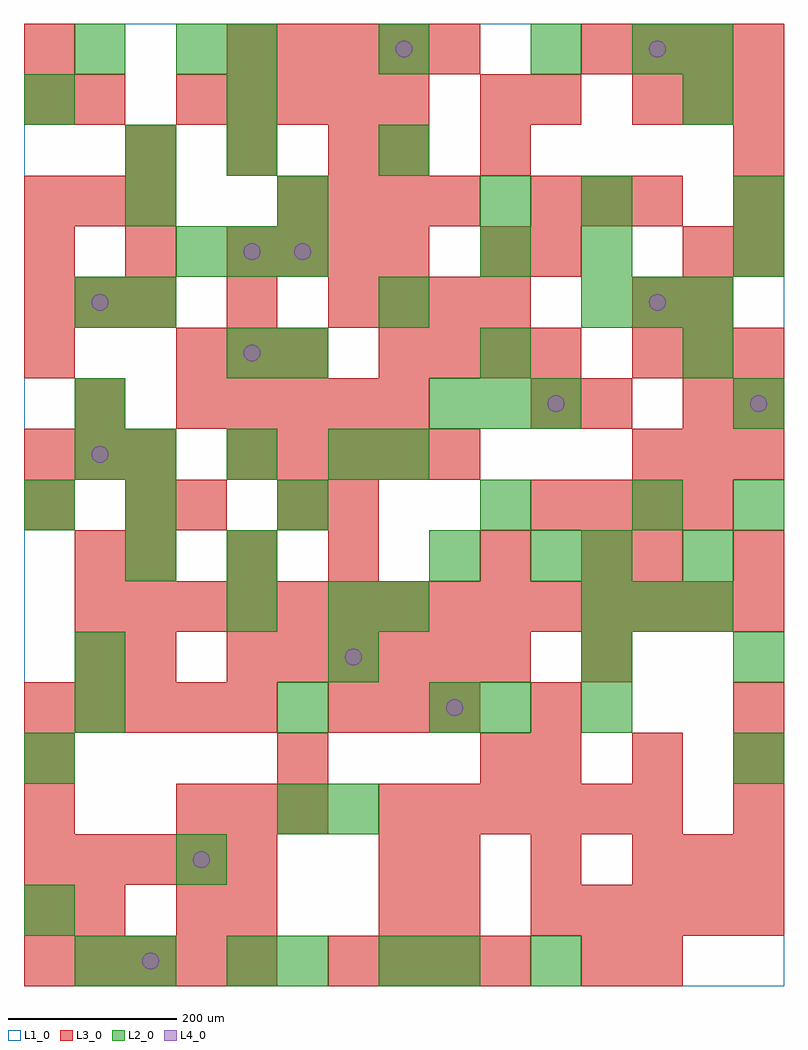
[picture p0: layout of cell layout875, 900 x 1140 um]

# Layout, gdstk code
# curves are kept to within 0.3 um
import gdstk
lib = gdstk.Library(unit=1e-6, precision=1e-09)
def R(c, l, rs):  # rectangles x0, y0, x1, y1
    for r in rs: c.add(gdstk.rectangle(r[:2], r[2:], *l))
def A(c, l, x, y, w, h, nx, ny, dx, dy):  # array of equal rectangles
    R(c, l, [(x+i*dx, y+j*dy, x+i*dx+w, y+j*dy+h) for i in range(nx) for j in range(ny)])
def P(c, l, *ps):  # polygons
    for p in ps: c.add(gdstk.Polygon(p, *l))
L1_0 = (1, 0)
L2_0 = (2, 0)
L3_0 = (3, 0)
L4_0 = (4, 0)

layout875 = lib.new_cell('layout875')
R(layout875, L1_0, [(0,0,900,1140)])
A(layout875, L2_0, 60, 0, 60, 60, 1, 3, 0, 300)
A(layout875, L2_0, 60, 360, 60, 60, 3, 1, 300, 0)
A(layout875, L2_0, 420, 420, 60, 60, 1, 4, 0, 180)
A(layout875, L2_0, 660, 420, 60, 60, 3, 2, 60, 360)
A(layout875, L2_0, 240, 480, 60, 60, 1, 3, 0, 240)
A(layout875, L2_0, 120, 600, 60, 60, 3, 1, 120, 0)
A(layout875, L2_0, 480, 660, 60, 60, 3, 1, 60, 0)
A(layout875, L2_0, 300, 720, 60, 60, 3, 1, 240, 0)
A(layout875, L2_0, 180, 840, 60, 60, 3, 1, 60, 0)
A(layout875, L2_0, 240, 1080, 60, 60, 3, 1, 180, 0)
R(layout875, L2_0, [(120,0,180,60), (240,0,300,60), (300,0,360,60), (420,0,480,60), (480,0,540,60), (600,0,660,60), (0,60,60,120), (180,120,240,180), (300,180,360,240), (360,180,420,240), (0,240,60,300), (840,240,900,300), (300,300,360,360), (480,300,540,360), (540,300,600,360), (660,300,720,360), (840,360,900,420), (240,420,300,480), (360,420,420,480), (120,480,180,540), (480,480,540,540), (600,480,660,540), (660,480,720,540), (780,480,840,540), (0,540,60,600), (120,540,180,600), (300,540,360,600), (540,540,600,600), (720,540,780,600), (840,540,900,600), (60,660,120,720), (840,660,900,720), (60,780,120,840), (120,780,180,840), (540,840,600,900), (660,840,720,900), (840,840,900,900), (120,900,180,960), (300,900,360,960), (540,900,600,960), (660,900,720,960), (840,900,900,960), (120,960,180,1020), (0,1020,60,1080), (240,1020,300,1080), (780,1020,840,1080), (60,1080,120,1140), (180,1080,240,1140), (720,1080,780,1140), (780,1080,840,1140)])
A(layout875, L3_0, 0, 0, 60, 60, 5, 2, 60, 120)
A(layout875, L3_0, 360, 0, 60, 60, 4, 2, 60, 780)
A(layout875, L3_0, 600, 60, 60, 60, 5, 1, 60, 0)
A(layout875, L3_0, 480, 120, 60, 60, 3, 1, 120, 0)
A(layout875, L3_0, 180, 180, 60, 60, 3, 2, 60, 540)
A(layout875, L3_0, 420, 180, 60, 60, 6, 1, 60, 0)
A(layout875, L3_0, 600, 240, 60, 60, 3, 1, 120, 0)
A(layout875, L3_0, 0, 300, 60, 60, 5, 1, 60, 0)
A(layout875, L3_0, 360, 300, 60, 60, 3, 1, 60, 0)
A(layout875, L3_0, 840, 300, 60, 60, 1, 4, 0, 180)
A(layout875, L3_0, 240, 360, 60, 60, 6, 1, 60, 0)
A(layout875, L3_0, 60, 420, 60, 60, 14, 1, 60, 0)
A(layout875, L3_0, 120, 480, 60, 60, 3, 2, 120, 480)
A(layout875, L3_0, 600, 540, 60, 60, 4, 1, 60, 0)
A(layout875, L3_0, 0, 600, 60, 60, 3, 2, 60, 180)
A(layout875, L3_0, 240, 600, 60, 60, 5, 2, 60, 480)
A(layout875, L3_0, 720, 600, 60, 60, 3, 2, 60, 120)
A(layout875, L3_0, 180, 660, 60, 60, 5, 2, 60, 360)
A(layout875, L3_0, 600, 660, 60, 60, 1, 3, 0, 180)
A(layout875, L3_0, 420, 720, 60, 60, 4, 1, 60, 0)
A(layout875, L3_0, 0, 840, 60, 60, 3, 1, 120, 0)
A(layout875, L3_0, 300, 840, 60, 60, 3, 1, 60, 0)
A(layout875, L3_0, 0, 900, 60, 60, 3, 1, 60, 0)
A(layout875, L3_0, 300, 900, 60, 60, 4, 1, 60, 0)
A(layout875, L3_0, 600, 900, 60, 60, 3, 1, 60, 0)
A(layout875, L3_0, 720, 1020, 60, 60, 3, 1, 60, 0)
A(layout875, L3_0, 660, 1080, 60, 60, 4, 1, 60, 0)
R(layout875, L3_0, [(660,0,720,60), (720,0,780,60), (0,60,60,120), (60,60,120,120), (180,60,240,120), (240,60,300,120), (420,60,480,120), (480,60,540,120), (420,120,480,180), (780,120,840,180), (840,120,900,180), (0,180,60,240), (840,180,900,240), (0,240,60,300), (300,240,360,300), (540,240,600,300), (600,300,660,360), (60,360,120,420), (120,360,180,420), (660,360,720,420), (60,480,120,540), (540,480,600,540), (660,480,720,540), (720,480,780,540), (0,540,60,600), (120,540,180,600), (180,540,240,600), (300,540,360,600), (360,540,420,600), (60,660,120,720), (660,660,720,720), (780,660,840,720), (0,720,60,780), (240,780,300,840), (720,780,780,840), (780,780,840,840), (540,840,600,900), (780,840,840,900), (840,900,900,960), (420,960,480,1020), (540,960,600,1020), (840,960,900,1020), (0,1020,60,1080), (60,1020,120,1080), (540,1020,600,1080), (0,1080,60,1140)])
P(layout875, L4_0, [(100,630),(99.239,633.827),(97.071,637.071),(93.827,639.239),(90,640),(86.173,639.239),(82.929,637.071),(80.761,633.827),(80,630),(80.761,626.173),(82.929,622.929),(86.173,620.761),(90,620),(93.827,620.761),(97.071,622.929),(99.239,626.173)],
  [(100,810),(99.239,813.827),(97.071,817.071),(93.827,819.239),(90,820),(86.173,819.239),(82.929,817.071),(80.761,813.827),(80,810),(80.761,806.173),(82.929,802.929),(86.173,800.761),(90,800),(93.827,800.761),(97.071,802.929),(99.239,806.173)],
  [(160,30),(159.239,33.827),(157.071,37.071),(153.827,39.239),(150,40),(146.173,39.239),(142.929,37.071),(140.761,33.827),(140,30),(140.761,26.173),(142.929,22.929),(146.173,20.761),(150,20),(153.827,20.761),(157.071,22.929),(159.239,26.173)],
  [(220,150),(219.239,153.827),(217.071,157.071),(213.827,159.239),(210,160),(206.173,159.239),(202.929,157.071),(200.761,153.827),(200,150),(200.761,146.173),(202.929,142.929),(206.173,140.761),(210,140),(213.827,140.761),(217.071,142.929),(219.239,146.173)],
  [(280,750),(279.239,753.827),(277.071,757.071),(273.827,759.239),(270,760),(266.173,759.239),(262.929,757.071),(260.761,753.827),(260,750),(260.761,746.173),(262.929,742.929),(266.173,740.761),(270,740),(273.827,740.761),(277.071,742.929),(279.239,746.173)],
  [(280,870),(279.239,873.827),(277.071,877.071),(273.827,879.239),(270,880),(266.173,879.239),(262.929,877.071),(260.761,873.827),(260,870),(260.761,866.173),(262.929,862.929),(266.173,860.761),(270,860),(273.827,860.761),(277.071,862.929),(279.239,866.173)],
  [(340,870),(339.239,873.827),(337.071,877.071),(333.827,879.239),(330,880),(326.173,879.239),(322.929,877.071),(320.761,873.827),(320,870),(320.761,866.173),(322.929,862.929),(326.173,860.761),(330,860),(333.827,860.761),(337.071,862.929),(339.239,866.173)],
  [(400,390),(399.239,393.827),(397.071,397.071),(393.827,399.239),(390,400),(386.173,399.239),(382.929,397.071),(380.761,393.827),(380,390),(380.761,386.173),(382.929,382.929),(386.173,380.761),(390,380),(393.827,380.761),(397.071,382.929),(399.239,386.173)],
  [(460,1110),(459.239,1113.827),(457.071,1117.071),(453.827,1119.239),(450,1120),(446.173,1119.239),(442.929,1117.071),(440.761,1113.827),(440,1110),(440.761,1106.173),(442.929,1102.929),(446.173,1100.761),(450,1100),(453.827,1100.761),(457.071,1102.929),(459.239,1106.173)],
  [(520,330),(519.239,333.827),(517.071,337.071),(513.827,339.239),(510,340),(506.173,339.239),(502.929,337.071),(500.761,333.827),(500,330),(500.761,326.173),(502.929,322.929),(506.173,320.761),(510,320),(513.827,320.761),(517.071,322.929),(519.239,326.173)],
  [(640,690),(639.239,693.827),(637.071,697.071),(633.827,699.239),(630,700),(626.173,699.239),(622.929,697.071),(620.761,693.827),(620,690),(620.761,686.173),(622.929,682.929),(626.173,680.761),(630,680),(633.827,680.761),(637.071,682.929),(639.239,686.173)],
  [(760,810),(759.239,813.827),(757.071,817.071),(753.827,819.239),(750,820),(746.173,819.239),(742.929,817.071),(740.761,813.827),(740,810),(740.761,806.173),(742.929,802.929),(746.173,800.761),(750,800),(753.827,800.761),(757.071,802.929),(759.239,806.173)],
  [(760,1110),(759.239,1113.827),(757.071,1117.071),(753.827,1119.239),(750,1120),(746.173,1119.239),(742.929,1117.071),(740.761,1113.827),(740,1110),(740.761,1106.173),(742.929,1102.929),(746.173,1100.761),(750,1100),(753.827,1100.761),(757.071,1102.929),(759.239,1106.173)],
  [(880,690),(879.239,693.827),(877.071,697.071),(873.827,699.239),(870,700),(866.173,699.239),(862.929,697.071),(860.761,693.827),(860,690),(860.761,686.173),(862.929,682.929),(866.173,680.761),(870,680),(873.827,680.761),(877.071,682.929),(879.239,686.173)])

lib.write_gds('layout875.gds')
